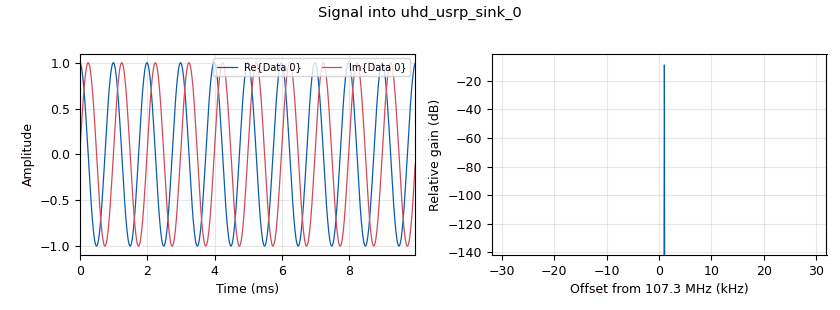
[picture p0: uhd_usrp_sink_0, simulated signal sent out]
<?xml version='1.0' encoding='utf-8'?>
<?grc format='1' created='3.7.11'?>
<flow_graph>
<block>
<key>options</key>
<param><key>id</key><value>uhd_tx</value></param>
<param><key>generate_options</key><value>qt_gui</value></param>
</block>
<block>
<key>variable</key>
<param><key>id</key><value>frequency</value></param>
<param><key>value</key><value>107.3e6</value></param>
</block>
<block>
<key>variable_qtgui_range</key>
<param><key>id</key><value>gain</value></param>
<param><key>value</key><value>50</value></param>
<param><key>orient</key><value>Qt.Horizontal</value></param>
<param><key>start</key><value>0</value></param>
<param><key>step</key><value>1</value></param>
<param><key>stop</key><value>100</value></param>
</block>
<block>
<key>variable</key>
<param><key>id</key><value>samp_rate</value></param>
<param><key>value</key><value>64000</value></param>
</block>
<block>
<key>analog_sig_source_x</key>
<param><key>id</key><value>analog_sig_source_x_0</value></param>
<param><key>amp</key><value>1</value></param>
<param><key>freq</key><value>1000</value></param>
<param><key>offset</key><value>0</value></param>
<param><key>type</key><value>complex</value></param>
<param><key>samp_rate</key><value>samp_rate</value></param>
<param><key>waveform</key><value>analog.GR_COS_WAVE</value></param>
</block>
<block>
<key>uhd_usrp_sink</key>
<param><key>id</key><value>uhd_usrp_sink_0</value></param>
<param><key>ant0</key><value></value></param>
<param><key>center_freq0</key><value>frequency</value></param>
<param><key>norm_gain0</key><value>False</value></param>
<param><key>gain0</key><value>gain</value></param>
<param><key>clock_rate</key><value>0.0</value></param>
<param><key>dev_args</key><value>""</value></param>
<param><key>type</key><value>fc32</value></param>
<param><key>samp_rate</key><value>samp_rate</value></param>
<param><key>hide_cmd_port</key><value>False</value></param>
<param><key>hide_lo_controls</key><value>True</value></param>
<param><key>sync</key><value></value></param>
<param><key>len_tag_name</key><value></value></param>
</block>
<connection><source_block_id>analog_sig_source_x_0</source_block_id><sink_block_id>uhd_usrp_sink_0</sink_block_id><source_key>0</source_key><sink_key>0</sink_key></connection>
</flow_graph>
